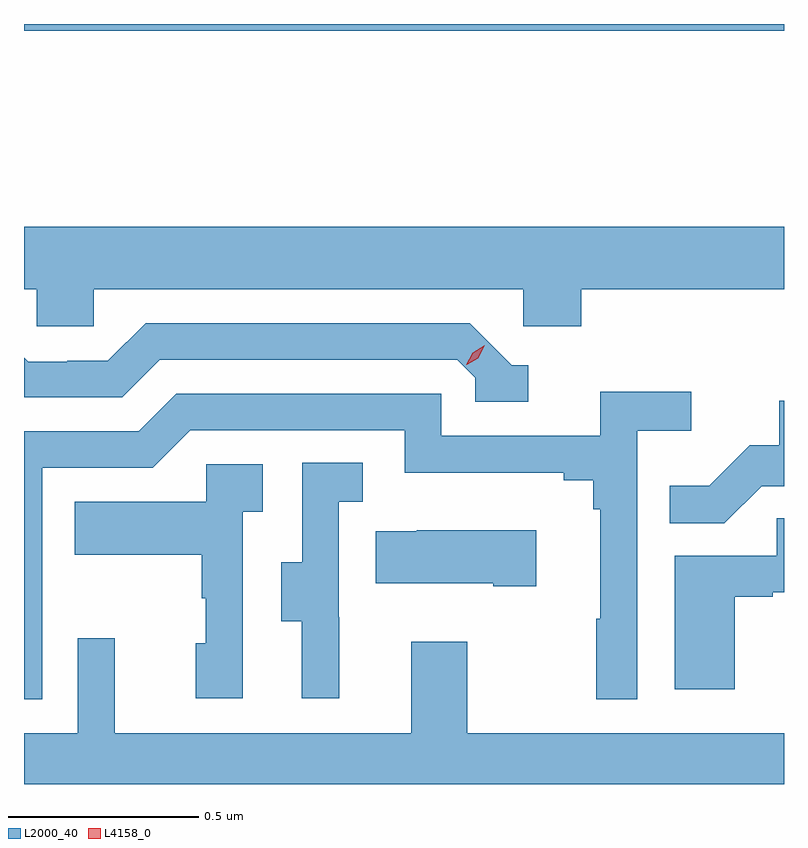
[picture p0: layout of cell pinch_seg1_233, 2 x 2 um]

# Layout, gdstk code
import gdstk
lib = gdstk.Library(unit=1e-6, precision=1e-09)
def R(c, l, rs):  # rectangles x0, y0, x1, y1
    for r in rs: c.add(gdstk.rectangle(r[:2], r[2:], *l))
def P(c, l, *ps):  # polygons
    for p in ps: c.add(gdstk.Polygon(p, *l))
L2000_40 = (2000, 40)
L4158_0 = (4158, 0)

pinch_seg1_233 = lib.new_cell('pinch_seg1_233')
R(pinch_seg1_233, L2000_40, [(973.932,571.06,975.932,571.078)])
P(pinch_seg1_233, L2000_40, [(974.115,570.38),(975.246,570.38),(975.246,570.282),(975.398,570.282),(975.398,570.38),(975.932,570.38),(975.932,570.544),(973.932,570.544),(973.932,570.38),(973.965,570.38),(973.965,570.282),(974.115,570.282)],
  [(975.259,570.18),(975.216,570.18),(975.105,570.291),(974.252,570.291),(974.153,570.192),(974.046,570.192),(974.046,570.189),(973.943,570.189),(973.932,570.2),(973.932,570.096),(974.19,570.096),(974.289,570.195),(975.072,570.195),(975.12,570.147),(975.12,570.084),(975.259,570.084)],
  [(973.98,569.91),(974.271,569.91),(974.37,570.009),(974.934,570.009),(974.934,569.897),(975.353,569.897),(975.353,569.878),(975.43,569.878),(975.43,569.801),(975.449,569.801),(975.449,569.513),(975.438,569.513),(975.438,569.301),(975.546,569.301),(975.546,570.008),(975.688,570.008),(975.688,570.11),(975.449,570.11),(975.449,569.994),(975.03,569.994),(975.03,570.105),(974.333,570.105),(974.234,570.006),(973.932,570.006),(973.932,569.301),(973.98,569.301)],
  [(975.873,569.862),(975.932,569.862),(975.932,570.087),(975.919,570.087),(975.919,569.97),(975.842,569.97),(975.735,569.863),(975.631,569.863),(975.631,569.764),(975.775,569.764)],
  [(974.762,569.517),(974.76,569.517),(974.76,569.821),(974.824,569.821),(974.824,569.924),(974.664,569.924),(974.664,569.661),(974.609,569.661),(974.609,569.506),(974.663,569.506),(974.663,569.304),(974.762,569.304)],
  [(974.508,569.795),(974.56,569.795),(974.56,569.919),(974.412,569.919),(974.412,569.821),(974.065,569.821),(974.065,569.681),(974.4,569.681),(974.4,569.567),(974.41,569.567),(974.41,569.448),(974.384,569.448),(974.384,569.304),(974.508,569.304)],
  [(975.802,569.571),(975.902,569.571),(975.902,569.583),(975.932,569.583),(975.932,569.777),(975.913,569.777),(975.913,569.679),(975.644,569.679),(975.644,569.328),(975.802,569.328)],
  [(975.28,569.746),(974.965,569.746),(974.965,569.743),(974.857,569.743),(974.857,569.606),(975.167,569.606),(975.167,569.599),(975.28,569.599)],
  [(975.932,569.212),(975.099,569.212),(975.099,569.452),(974.951,569.452),(974.951,569.212),(974.171,569.212),(974.171,569.461),(974.073,569.461),(974.073,569.212),(973.932,569.212),(973.932,569.078),(975.932,569.078)])
P(pinch_seg1_233, L4158_0, [(975.096,570.181),(975.096,570.181),(975.113,570.213),(975.144,570.232),(975.145,570.232),(975.145,570.232),(975.128,570.199),(975.097,570.181)])

lib.write_gds('pinch_seg1_233.gds')
